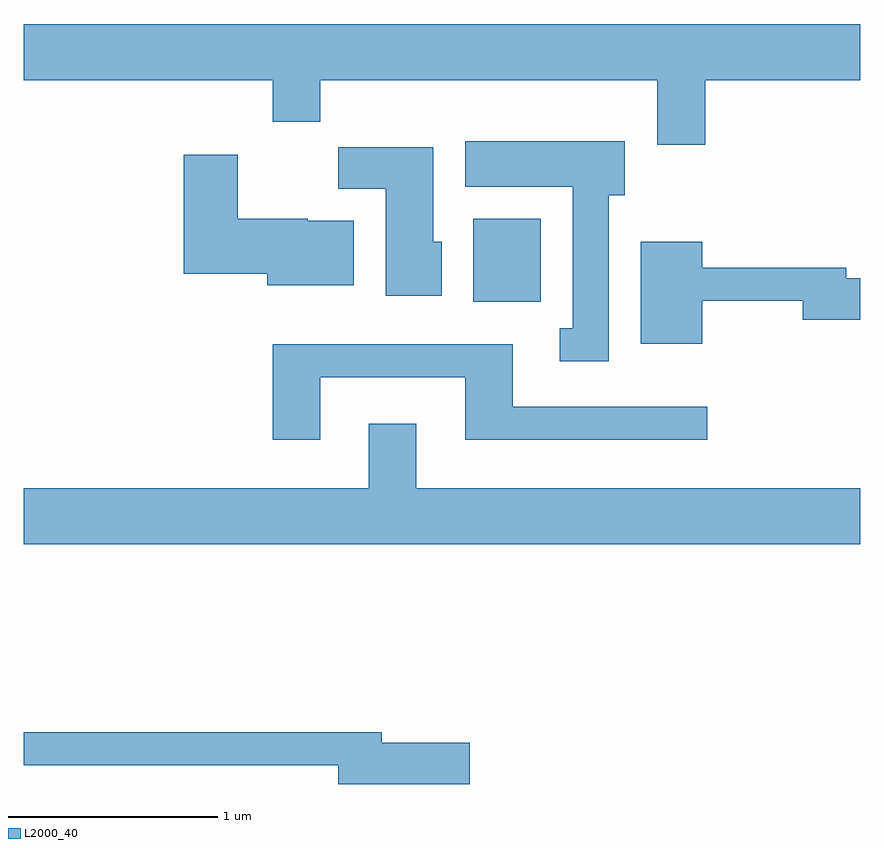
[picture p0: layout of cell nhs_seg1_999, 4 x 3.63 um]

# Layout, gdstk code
import gdstk
lib = gdstk.Library(unit=1e-6, precision=1e-09)
def R(c, l, rs):  # rectangles x0, y0, x1, y1
    for r in rs: c.add(gdstk.rectangle(r[:2], r[2:], *l))
def P(c, l, *ps):  # polygons
    for p in ps: c.add(gdstk.Polygon(p, *l))
L2000_40 = (2000, 40)

nhs_seg1_999 = lib.new_cell('nhs_seg1_999')
R(nhs_seg1_999, L2000_40, [(217.761,934.036,218.084,934.434)])
P(nhs_seg1_999, L2000_40, [(218.869,935.096),(219.611,935.096),(219.611,935.364),(215.611,935.364),(215.611,935.096),(216.801,935.096),(216.801,934.896),(217.029,934.896),(217.029,935.096),(218.641,935.096),(218.641,934.786),(218.869,934.786)],
  [(218.409,934.546),(218.484,934.546),(218.484,934.804),(217.721,934.804),(217.721,934.586),(218.236,934.586),(218.236,933.909),(218.173,933.909),(218.173,933.751),(218.409,933.751)],
  [(217.609,934.324),(217.569,934.324),(217.569,934.774),(217.116,934.774),(217.116,934.576),(217.341,934.576),(217.341,934.066),(217.609,934.066)],
  [(217.189,934.424),(216.97,934.424),(216.97,934.434),(216.634,934.434),(216.634,934.739),(216.376,934.739),(216.376,934.171),(216.776,934.171),(216.776,934.116),(217.189,934.116)],
  [(218.854,934.041),(219.336,934.041),(219.336,933.951),(219.611,933.951),(219.611,934.149),(219.544,934.149),(219.544,934.199),(218.854,934.199),(218.854,934.324),(218.561,934.324),(218.561,933.836),(218.854,933.836)],
  [(217.029,933.676),(217.721,933.676),(217.721,933.376),(218.878,933.376),(218.878,933.534),(217.949,933.534),(217.949,933.834),(216.801,933.834),(216.801,933.376),(217.029,933.376)],
  [(219.611,933.144),(217.489,933.144),(217.489,933.454),(217.261,933.454),(217.261,933.144),(215.611,933.144),(215.611,932.876),(219.611,932.876)],
  [(217.744,931.929),(217.324,931.929),(217.324,931.979),(215.611,931.979),(215.611,931.821),(217.116,931.821),(217.116,931.731),(217.744,931.731)])

lib.write_gds('nhs_seg1_999.gds')
